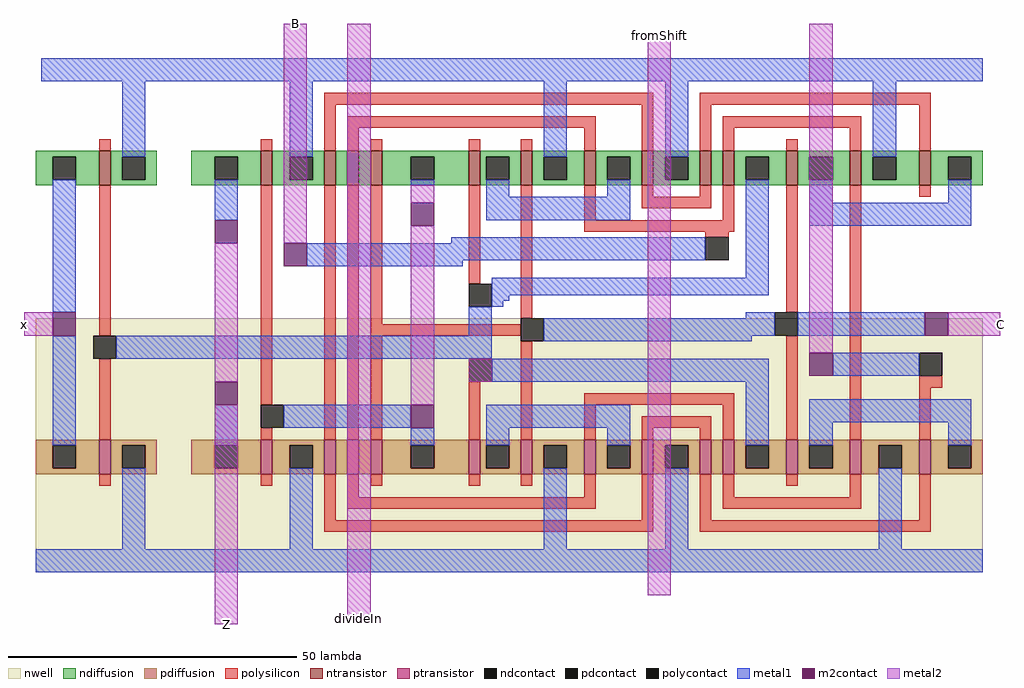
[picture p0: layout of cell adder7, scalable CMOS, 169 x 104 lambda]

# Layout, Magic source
magic
tech scmos
<< nwell >>
rect -76 -24 88 20
<< polysilicon >>
rect -26 57 31 59
rect -65 49 -63 51
rect -37 49 -35 51
rect -26 49 -24 57
rect -22 53 21 55
rect -22 49 -20 53
rect -18 49 -16 51
rect -1 49 1 51
rect 8 49 10 51
rect 19 49 21 53
rect 29 49 31 57
rect 39 57 79 59
rect 39 49 41 57
rect 43 53 67 55
rect 43 49 45 53
rect 54 49 56 51
rect 65 49 67 53
rect 77 49 79 57
rect -65 17 -63 43
rect -65 -1 -63 13
rect -37 5 -35 43
rect -37 -1 -35 1
rect -26 -1 -24 43
rect -22 -1 -20 43
rect -18 19 -16 43
rect -1 26 1 43
rect 8 20 10 43
rect 19 37 21 43
rect 29 41 31 43
rect 39 41 41 43
rect 29 39 41 41
rect 43 37 45 43
rect 19 35 45 37
rect 40 34 44 35
rect 54 21 56 43
rect -18 17 8 19
rect -18 -1 -16 17
rect -1 -1 1 9
rect 8 -1 10 16
rect 19 5 45 7
rect 19 -1 21 5
rect 29 1 41 3
rect 29 -1 31 1
rect 39 -1 41 1
rect 43 -1 45 5
rect 54 -1 56 17
rect 65 -1 67 43
rect 77 41 79 43
rect 77 8 81 10
rect 77 -1 79 8
rect -65 -9 -63 -7
rect -37 -9 -35 -7
rect -26 -15 -24 -7
rect -22 -11 -20 -7
rect -18 -9 -16 -7
rect -1 -9 1 -7
rect 8 -9 10 -7
rect 19 -11 21 -7
rect -22 -13 21 -11
rect 29 -15 31 -7
rect -26 -17 31 -15
rect 39 -15 41 -7
rect 43 -11 45 -7
rect 54 -9 56 -7
rect 65 -11 67 -7
rect 43 -13 67 -11
rect 77 -15 79 -7
rect 39 -17 79 -15
<< ndiffusion >>
rect -76 48 -65 49
rect -76 43 -73 48
rect -69 43 -65 48
rect -63 48 -55 49
rect -63 44 -61 48
rect -57 44 -55 48
rect -63 43 -55 44
rect -49 48 -37 49
rect -49 44 -45 48
rect -41 44 -37 48
rect -49 43 -37 44
rect -35 48 -26 49
rect -35 44 -32 48
rect -28 44 -26 48
rect -35 43 -26 44
rect -24 43 -22 49
rect -20 43 -18 49
rect -16 48 -1 49
rect -16 44 -11 48
rect -7 44 -1 48
rect -16 43 -1 44
rect 1 48 8 49
rect 1 44 2 48
rect 6 44 8 48
rect 1 43 8 44
rect 10 48 19 49
rect 10 44 12 48
rect 16 44 19 48
rect 10 43 19 44
rect 21 48 29 49
rect 21 44 23 48
rect 27 44 29 48
rect 21 43 29 44
rect 31 48 39 49
rect 31 44 33 48
rect 37 44 39 48
rect 31 43 39 44
rect 41 43 43 49
rect 45 48 54 49
rect 45 44 47 48
rect 51 44 54 48
rect 45 43 54 44
rect 56 48 65 49
rect 56 44 58 48
rect 62 44 65 48
rect 56 43 65 44
rect 67 48 77 49
rect 67 44 69 48
rect 73 44 77 48
rect 67 43 77 44
rect 79 48 88 49
rect 79 44 82 48
rect 86 44 88 48
rect 79 43 88 44
<< pdiffusion >>
rect -76 -2 -65 -1
rect -76 -6 -73 -2
rect -69 -6 -65 -2
rect -76 -7 -65 -6
rect -63 -2 -55 -1
rect -63 -6 -61 -2
rect -57 -6 -55 -2
rect -63 -7 -55 -6
rect -49 -2 -37 -1
rect -49 -6 -45 -2
rect -41 -6 -37 -2
rect -49 -7 -37 -6
rect -35 -2 -26 -1
rect -35 -6 -32 -2
rect -28 -6 -26 -2
rect -35 -7 -26 -6
rect -24 -7 -22 -1
rect -20 -7 -18 -1
rect -16 -2 -1 -1
rect -16 -6 -11 -2
rect -7 -6 -1 -2
rect -16 -7 -1 -6
rect 1 -2 8 -1
rect 1 -6 2 -2
rect 6 -6 8 -2
rect 1 -7 8 -6
rect 10 -2 19 -1
rect 10 -6 12 -2
rect 16 -6 19 -2
rect 10 -7 19 -6
rect 21 -2 29 -1
rect 21 -6 23 -2
rect 27 -6 29 -2
rect 21 -7 29 -6
rect 31 -2 39 -1
rect 31 -6 33 -2
rect 37 -6 39 -2
rect 31 -7 39 -6
rect 41 -7 43 -1
rect 45 -2 54 -1
rect 45 -6 47 -2
rect 51 -6 54 -2
rect 45 -7 54 -6
rect 56 -2 65 -1
rect 56 -6 58 -2
rect 62 -6 65 -2
rect 56 -7 65 -6
rect 67 -2 77 -1
rect 67 -7 70 -2
rect 74 -7 77 -2
rect 79 -2 88 -1
rect 79 -6 82 -2
rect 86 -6 88 -2
rect 79 -7 88 -6
<< metal1 >>
rect -75 61 88 65
rect -61 48 -57 61
rect -32 48 -28 61
rect 12 48 16 61
rect 33 48 37 61
rect 69 48 73 61
rect -73 21 -69 44
rect -45 37 -41 44
rect -11 43 -7 44
rect 2 41 6 44
rect 23 41 27 44
rect 2 37 27 41
rect -4 33 40 34
rect -29 30 40 33
rect -29 29 -2 30
rect 47 27 51 44
rect 58 40 62 44
rect 82 40 86 44
rect 58 36 86 40
rect 3 24 51 27
rect 3 23 6 24
rect 3 22 5 23
rect -1 17 3 22
rect 47 20 52 21
rect -73 -2 -69 17
rect -62 13 3 17
rect 12 17 52 20
rect 56 17 78 21
rect 12 16 48 17
rect 3 9 51 13
rect 62 10 77 14
rect -45 -2 -41 5
rect -33 1 -11 5
rect -11 -2 -7 1
rect 2 1 27 5
rect 2 -2 6 1
rect 23 -2 27 1
rect 47 -2 51 9
rect 58 2 86 6
rect 58 -2 62 2
rect 82 -2 86 2
rect -61 -20 -57 -6
rect -32 -20 -28 -6
rect 12 -20 16 -6
rect 33 -20 37 -6
rect 70 -20 74 -6
rect -76 -24 88 -20
<< metal2 >>
rect -78 17 -73 21
rect -45 9 -41 33
rect -33 33 -29 71
rect -45 -33 -41 5
rect -22 -32 -18 71
rect -11 40 -7 43
rect -11 5 -7 36
rect -1 9 3 13
rect 30 -28 34 69
rect 58 14 62 71
rect 82 17 91 21
<< ntransistor >>
rect -65 43 -63 49
rect -37 43 -35 49
rect -26 43 -24 49
rect -22 43 -20 49
rect -18 43 -16 49
rect -1 43 1 49
rect 8 43 10 49
rect 19 43 21 49
rect 29 43 31 49
rect 39 43 41 49
rect 43 43 45 49
rect 54 43 56 49
rect 65 43 67 49
rect 77 43 79 49
<< ptransistor >>
rect -65 -7 -63 -1
rect -37 -7 -35 -1
rect -26 -7 -24 -1
rect -22 -7 -20 -1
rect -18 -7 -16 -1
rect -1 -7 1 -1
rect 8 -7 10 -1
rect 19 -7 21 -1
rect 29 -7 31 -1
rect 39 -7 41 -1
rect 43 -7 45 -1
rect 54 -7 56 -1
rect 65 -7 67 -1
rect 77 -7 79 -1
<< polycontact >>
rect -66 13 -62 17
rect -37 1 -33 5
rect -1 22 3 26
rect 40 30 44 34
rect 8 16 12 20
rect 52 17 56 21
rect -1 9 3 13
rect 77 10 81 14
<< ndcontact >>
rect -73 44 -69 48
rect -61 44 -57 48
rect -45 44 -41 48
rect -32 44 -28 48
rect -11 44 -7 48
rect 2 44 6 48
rect 12 44 16 48
rect 23 44 27 48
rect 33 44 37 48
rect 47 44 51 48
rect 58 44 62 48
rect 69 44 73 48
rect 82 44 86 48
<< pdcontact >>
rect -73 -6 -69 -2
rect -61 -6 -57 -2
rect -45 -6 -41 -2
rect -32 -6 -28 -2
rect -11 -6 -7 -2
rect 2 -6 6 -2
rect 12 -6 16 -2
rect 23 -6 27 -2
rect 33 -6 37 -2
rect 47 -6 51 -2
rect 58 -6 62 -2
rect 70 -6 74 -2
rect 82 -6 86 -2
<< m2contact >>
rect -45 33 -41 37
rect -11 36 -7 40
rect -33 29 -29 33
rect -73 17 -69 21
rect 78 17 82 21
rect 58 10 62 14
rect -45 5 -41 9
rect -11 1 -7 5
<< labels >>
rlabel metal2 -45 -33 -41 -33 1 Z
rlabel metal2 -78 17 -78 21 3 x
rlabel metal2 91 17 91 21 7 C
rlabel metal2 -33 71 -29 71 5 B
rlabel metal2 -22 -32 -18 -32 1 divideIn
rlabel metal2 30 69 34 69 5 fromShift
<< end >>
